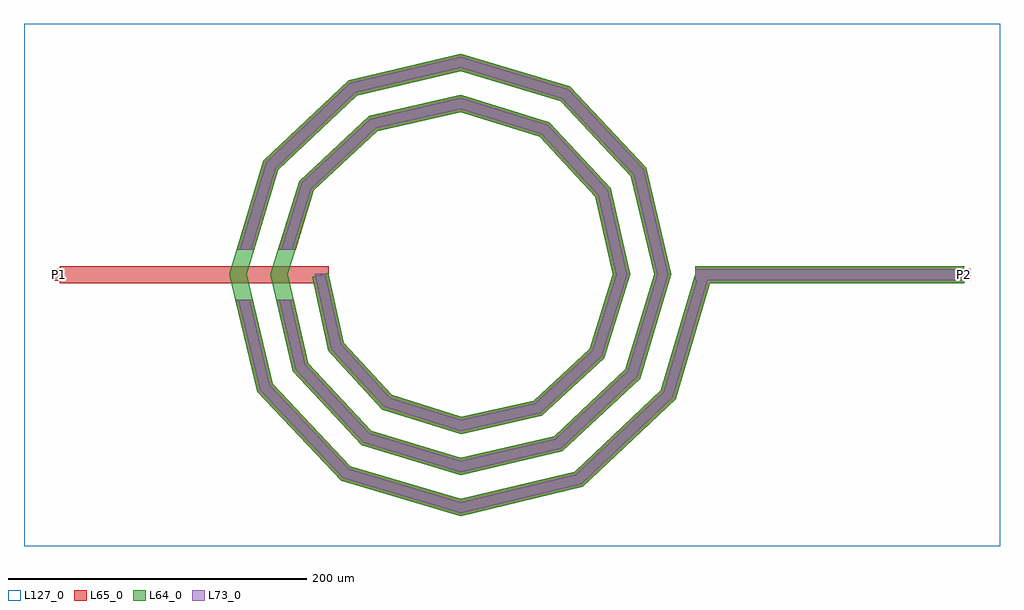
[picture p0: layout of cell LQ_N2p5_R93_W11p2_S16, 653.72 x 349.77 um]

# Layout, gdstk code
import gdstk
lib = gdstk.Library(unit=1e-6, precision=1e-09)
def R(c, l, rs):  # rectangles x0, y0, x1, y1
    for r in rs: c.add(gdstk.rectangle(r[:2], r[2:], *l))
def P(c, l, *ps):  # polygons
    for p in ps: c.add(gdstk.Polygon(p, *l))
L64_0 = (64, 0)
L65_0 = (65, 0)
L73_0 = (73, 0)
L127_0 = (127, 0)

lq_n2p5_r93_w11p2_s16 = lib.new_cell('LQ_N2p5_R93_W11p2_S16')
R(lq_n2p5_r93_w11p2_s16, L64_0, [(157.248,-5.6,337.248,5.6)])
P(lq_n2p5_r93_w11p2_s16, L64_0, [(-78.305,-45.506),(-46.212,-80.545),(0.246,-95.152),(48.93,-84.27),(86.492,-49.665),(102.03,0.23),(90.233,52.356),(53.116,92.441),(0.216,108.907),(-55.783,96.196),(-98.391,56.566),(-115.785,0.204),(-102.158,-59.212),(-60.015,-104.342),(0.193,-122.663),(62.642,-108.12),(110.293,-63.463),(129.541,0.183),(114.081,66.073),(66.909,116.245),(0.174,136.418),(-69.504,120.041),(-122.197,70.356),(-143.296,0.166),(-126.002,-72.936),(-73.801,-128.15),(0.159,-150.174),(76.369,-131.962),(134.103,-77.246),(157.479,1.592),(168.217,-1.592),(143.987,-83.309),(81.893,-142.157),(0.159,-161.765),(-79.876,-138.027),(-136.204,-78.448),(-154.887,0.166),(-132.066,76.443),(-75.002,130.251),(0.174,148.009),(73.012,126.105),(124.298,71.556),(141.131,0.183),(120.144,-69.58),(68.108,-118.346),(0.193,-134.252),(-66.15,-114.182),(-112.395,-64.66),(-127.374,0.204),(-108.22,62.721),(-61.211,106.444),(0.216,120.496),(59.292,102.256),(100.494,57.76),(113.617,0.23),(96.292,-55.866),(54.308,-94.544),(0.246,-106.738),(-52.44,-90.327),(-88.595,-50.854),(-99.536,-1.205),(-88.599,1.205)])
R(lq_n2p5_r93_w11p2_s16, L65_0, [(-268.467,-5.6,-88.467,5.6), (157.248,-5.6,337.248,5.6), (-272.467,-4,-264.467,4), (333.248,-4,341.248,4)])
P(lq_n2p5_r93_w11p2_s16, L65_0, [(-126.002,-72.936),(-73.801,-128.15),(0.159,-150.174),(76.369,-131.962),(134.103,-77.246),(157.479,1.592),(168.217,-1.592),(143.987,-83.309),(81.893,-142.157),(0.159,-161.765),(-79.876,-138.027),(-136.204,-78.448),(-150.855,-16.8),(-139.343,-16.8)],
  [(-102.158,-59.212),(-60.015,-104.342),(0.193,-122.663),(62.642,-108.12),(110.293,-63.463),(129.541,0.183),(114.081,66.073),(66.909,116.245),(0.174,136.418),(-69.504,120.041),(-122.197,70.356),(-138.22,16.8),(-149.911,16.8),(-132.066,76.444),(-75.002,130.251),(0.174,148.009),(73.012,126.105),(124.298,71.556),(141.131,0.183),(120.144,-69.58),(68.108,-118.346),(0.193,-134.252),(-66.15,-114.182),(-112.395,-64.66),(-123.447,-16.8),(-111.953,-16.8)],
  [(-46.212,-80.545),(0.246,-95.152),(48.93,-84.27),(86.493,-49.665),(102.03,0.23),(90.233,52.356),(53.116,92.441),(0.216,108.907),(-55.784,96.196),(-98.391,56.566),(-110.575,16.8),(-122.289,16.8),(-108.22,62.721),(-61.211,106.444),(0.216,120.496),(59.292,102.256),(100.494,57.76),(113.617,0.23),(96.292,-55.866),(54.308,-94.544),(0.246,-106.739),(-52.44,-90.327),(-88.595,-50.854),(-99.536,-1.205),(-88.599,1.205),(-78.305,-45.507)])
R(lq_n2p5_r93_w11p2_s16, L73_0, [(157.248,-3.6,337.248,3.6)])
P(lq_n2p5_r93_w11p2_s16, L73_0, [(-127.824,-73.921),(-74.886,-129.914),(0.102,-152.244),(77.356,-133.782),(135.868,-78.329),(159.396,1.023),(166.299,-1.023),(142.222,-82.227),(80.907,-140.336),(0.102,-159.696),(-78.791,-136.263),(-134.382,-77.464),(-148.799,-16.8),(-141.399,-16.8)],
  [(-103.986,-60.185),(-61.111,-106.099),(0.124,-124.732),(63.618,-109.946),(112.052,-64.555),(131.61,0.118),(115.905,67.052),(67.999,118.006),(0.112,138.488),(-70.486,121.865),(-123.96,71.443),(-140.308,16.8),(-147.823,16.8),(-130.304,75.356),(-74.02,128.428),(0.112,145.939),(71.922,124.345),(122.474,70.577),(139.061,0.118),(118.385,-68.488),(67.132,-116.52),(0.124,-132.183),(-65.054,-112.425),(-110.567,-63.687),(-121.395,-16.8),(-114.005,-16.8)],
  [(-47.325,-82.291),(0.158,-97.221),(49.891,-86.104),(88.242,-50.772),(104.099,0.148),(92.065,53.321),(54.219,94.194),(0.139,110.977),(-56.753,98.026),(-100.146,57.665),(-112.667,16.8),(-120.197,16.8),(-106.465,61.622),(-60.242,104.614),(0.139,118.426),(58.19,100.504),(98.661,56.795),(111.548,0.148),(94.542,-54.758),(53.348,-92.709),(0.158,-104.67),(-51.328,-88.58),(-86.758,-49.899),(-97.583,0.775),(-90.552,0.775),(-80.143,-46.461)])
R(lq_n2p5_r93_w11p2_s16, L127_0, [(-292.467,-181.765,361.248,168.009)])
lq_n2p5_r93_w11p2_s16.add(gdstk.Label('P2', (337.248,0), layer=65, texttype=0))
lq_n2p5_r93_w11p2_s16.add(gdstk.Label('P1', (-268.467,0), layer=65, texttype=0))
lq_n2p5_r93_w11p2_s16.add(gdstk.Label('P2', (341.248,0), layer=145, texttype=0))
lq_n2p5_r93_w11p2_s16.add(gdstk.Label('P1', (-272.467,0), layer=145, texttype=0))

lib.write_gds('LQ_N2p5_R93_W11p2_S16.gds')
